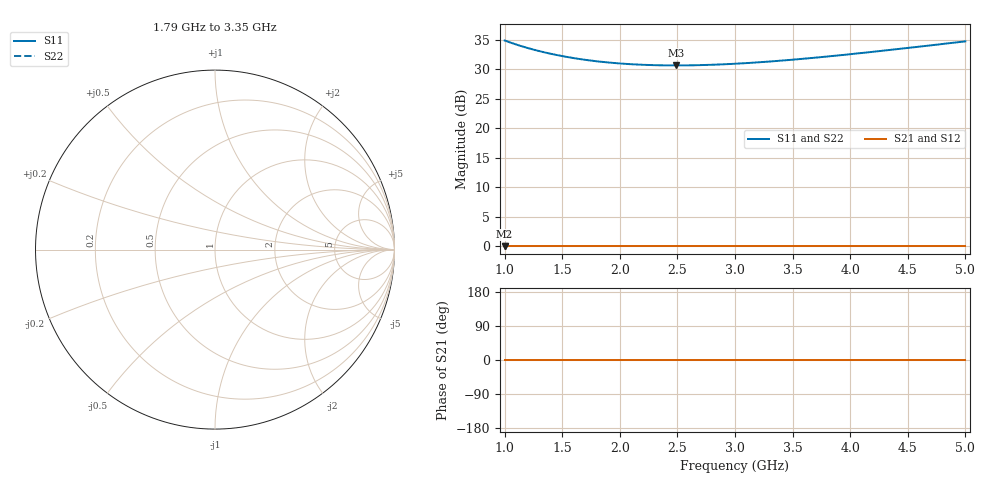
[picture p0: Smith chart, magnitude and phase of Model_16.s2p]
# GHZ S RI R 50
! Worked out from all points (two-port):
!   401 points, 1 GHz to 5 GHz, reference 50 ohm
!   highest |S21| = 0.00 dB at 1 GHz (marker M1); lowest = 0.0 dB at 1 GHz (marker M2)
!   |S21| within 3 dB of the highest: start of sweep to end of sweep
!   lowest |S11| = 30.7 dB at 2.49 GHz (marker M3)
!   |S11| at or under -10 dB: nowhere
!   |S22| runs from 30.7 to 34.9 dB; largest |S21 - S12| = 0
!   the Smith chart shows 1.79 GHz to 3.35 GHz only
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1  55.62 0  1 0  1 0  55.62 0
1.02  54.71 0  1 0  1 0  54.71 0
1.15  49.62 0  1 0  1 0  49.62 0
1.22  47.39 0  1 0  1 0  47.39 0
1.3  45.2 0  1 0  1 0  45.2 0
1.38  43.32 0  1 0  1 0  43.32 0
1.47  41.51 0  1 0  1 0  41.51 0
1.57  39.84 0  1 0  1 0  39.84 0
1.67  38.46 0  1 0  1 0  38.46 0
1.82  36.84 0  1 0  1 0  36.84 0
1.98  35.61 0  1 0  1 0  35.61 0
2.15  34.75 0  1 0  1 0  34.75 0
2.34  34.25 0  1 0  1 0  34.25 0
2.49  34.14 0  1 0  1 0  34.14 0
2.74  34.44 0  1 0  1 0  34.44 0
3  35.28 0  1 0  1 0  35.28 0
3.33  37.03 0  1 0  1 0  37.03 0
3.67  39.51 0  1 0  1 0  39.51 0
4  42.51 0  1 0  1 0  42.51 0
4.34  46.14 0  1 0  1 0  46.14 0
4.64  49.78 0  1 0  1 0  49.78 0
5  54.66 0  1 0  1 0  54.66 0
